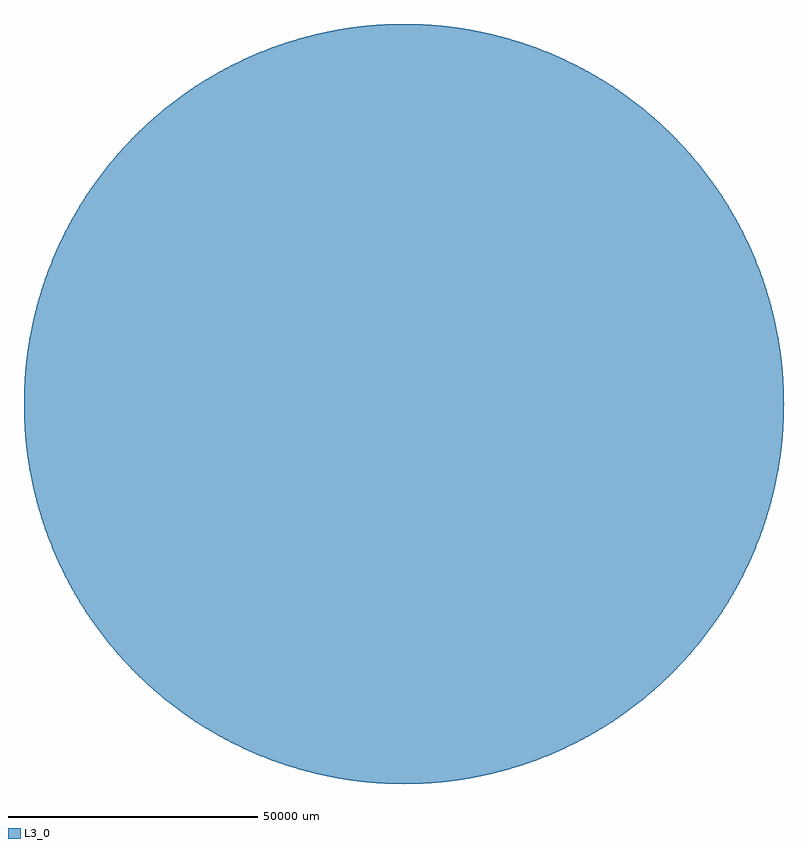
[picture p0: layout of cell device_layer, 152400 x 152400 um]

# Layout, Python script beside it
import sys, os
import gdspy
from picwriter import toolkit as tk
import picwriter.components as pc
cm,mm,um,nm = 10**4,10**3,1,10**-3
name = os.path.basename(__file__[:-3])

design = gdspy.Cell("device_layer")
design.add(gdspy.Round((0,0),6*2.54*cm/2,tolerance=1e-1,layer=3,datatype=0))

# for i in range(10):
# 	r = 
# 	PIC.design.add(gdspy.Rectangle((1,1),(2,2)))

# PIC.design.add(gdspy.Rectangle((1,1),(2,2)))



#tk.build_mask(design, self.wgt, final_layer=2, final_datatype=0)
gdspy.write_gds(name+'.gds', unit=1.0e-6, precision=1.0e-9)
